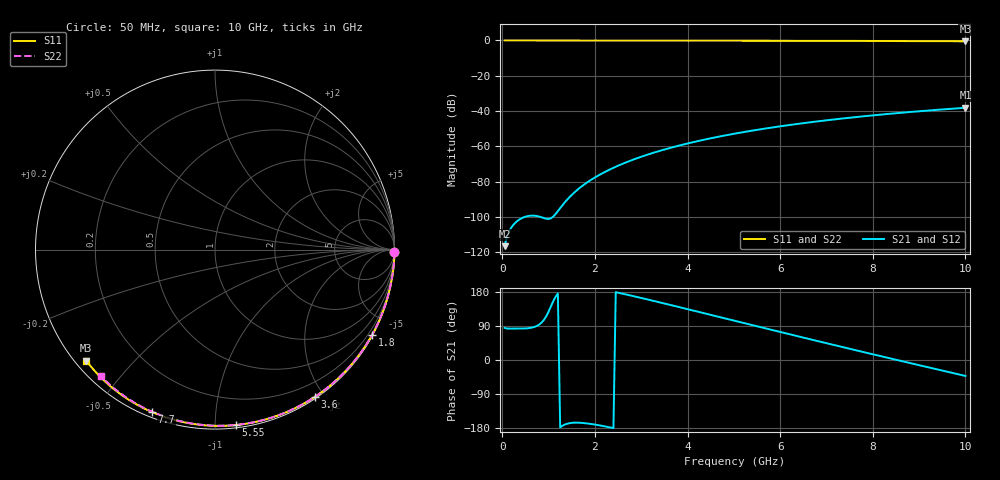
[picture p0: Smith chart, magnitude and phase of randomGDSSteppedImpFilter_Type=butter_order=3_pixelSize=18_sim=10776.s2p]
! freq	dB(S11)	phase(S11)	dB(S12)	phase(S12)
!  dB(S21)	phase(S21)	dB(S22)	phase(S22)
!S-par simulation data
#  GHz  S  DB  R 50
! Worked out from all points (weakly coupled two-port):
!   200 points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, 50 MHz to 10 GHz, reference 50 ohm
!   highest |S21| = -38.11 dB at 10 GHz (marker M1); lowest = -116.4 dB at 50 MHz (marker M2)
!   lowest |S11| = -0.5 dB at 10 GHz (marker M3), VSWR 36.92, Z = 1.54 - j18.6 ohm
!   |S11| at or under -10 dB: nowhere
!   |S22| runs from -0.4 to 0.0 dB; largest |S21 - S12| = 0
!   S11 on the Smith chart (normalised r, x): 50 MHz: open; 1.8 GHz: 0.03, -3.92; 3.6 GHz: 0.02, -1.89; 5.55 GHz: 0.02, -1.13; 7.7 GHz: 0.02, -0.69; 10 GHz: 0.03, -0.37
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0.05  -0.00 -0.8  -116.43 84.8  -116.43 84.8  -0.00 -0.8
0.45  -0.01 -7.3  -100.22 83.0  -100.22 83.0  -0.01 -6.9
0.9  -0.02 -14.4  -100.56 106.0  -100.56 106.0  -0.02 -13.6
1.75  -0.04 -27.8  -81.87 -166.3  -81.87 -166.3  -0.03 -26.3
1.8  -0.04 -28.6  -80.92 -166.9  -80.92 -166.9  -0.03 -27.0
1.85  -0.04 -29.4  -80.03 -167.7  -80.03 -167.7  -0.04 -27.8
2.15  -0.04 -34.0  -75.31 -173.6  -75.31 -173.6  -0.04 -32.2
2.35  -0.05 -37.1  -72.67 -178.5  -72.67 -178.5  -0.05 -35.1
2.55  -0.05 -40.1  -70.32 176.3  -70.32 176.3  -0.05 -38.0
2.95  -0.06 -46.2  -66.27 165.2  -66.27 165.2  -0.06 -43.7
3.4  -0.07 -52.9  -62.48 152.1  -62.48 152.1  -0.07 -50.1
3.6  -0.08 -55.8  -61.00 146.1  -61.00 146.1  -0.07 -52.9
3.9  -0.08 -60.2  -58.95 137.2  -58.95 137.2  -0.08 -57.0
4.3  -0.09 -65.9  -56.50 125.2  -56.50 125.2  -0.09 -62.5
5.05  -0.12 -76.4  -52.59 102.5  -52.59 102.5  -0.11 -72.5
5.55  -0.14 -83.3  -50.38 87.5  -50.38 87.5  -0.13 -79.0
6.1  -0.16 -90.6  -48.22 71.0  -48.22 71.0  -0.15 -86.0
6.7  -0.19 -98.4  -46.14 53.2  -46.14 53.2  -0.18 -93.4
7.7  -0.25 -111.1  -43.18 23.8  -43.18 23.8  -0.24 -105.5
8.35  -0.30 -119.2  -41.54 5.0  -41.54 5.0  -0.29 -113.1
9.2  -0.38 -129.5  -39.65 -19.4  -39.65 -19.4  -0.36 -122.9
10  -0.47 -139.2  -38.11 -42.0  -38.11 -42.0  -0.45 -132.0
